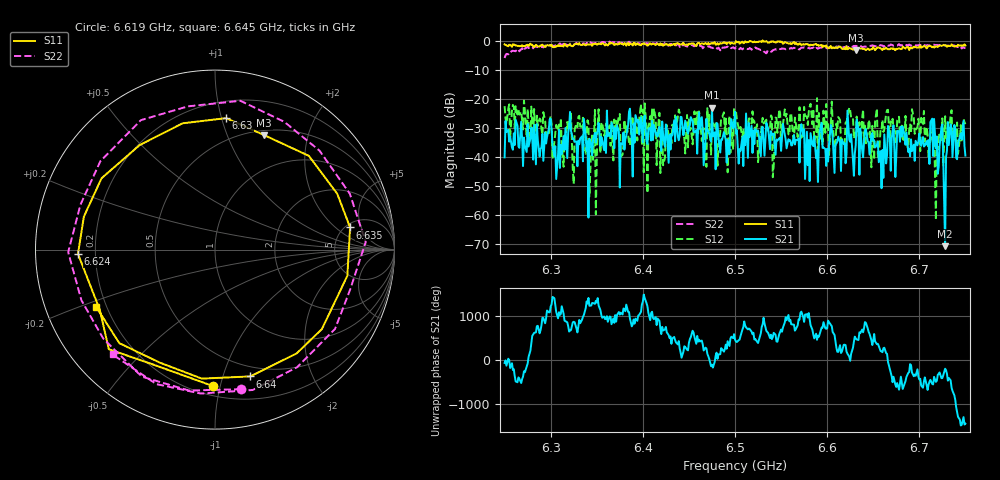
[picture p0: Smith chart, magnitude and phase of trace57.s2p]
# Hz S RI R 50
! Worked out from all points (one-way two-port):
!   401 points, 6.25 GHz to 6.75 GHz, reference 50 ohm
!   highest |S21| = -22.94 dB at 6.475 GHz (marker M1); lowest = -70.7 dB at 6.728 GHz (marker M2)
!   lowest |S11| = -3.2 dB at 6.631 GHz (marker M3), VSWR 5.54, Z = 27.8 + j68.3 ohm
!   |S11| at or under -10 dB: nowhere
!   |S22| runs from -5.8 to -0.1 dB; largest |S21 - S12| = 0.12
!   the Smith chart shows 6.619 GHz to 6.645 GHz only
!   S11 on the Smith chart (normalised r, x): 6.619 GHz: 0.26, -0.95; 6.624 GHz: 0.13, -0.02; 6.63 GHz: 0.32, +1.03; 6.635 GHz: 5.47, +3.23; 6.64 GHz: 0.40, -1.23; 6.645 GHz: 0.16, -0.22
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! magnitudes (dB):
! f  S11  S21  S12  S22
! 6.25 GHz  -1.1  -40.1  -22.4  -5.8
! 6.334 GHz  -1.3  -32.8  -29.5  -0.8
! 6.348 GHz  -0.9  -31.6  -23.7  -0.7
! 6.372 GHz  -1.2  -29.1  -29.8  -0.6
! 6.418 GHz  -1.4  -29.5  -24.7  -1.0
! 6.475 GHz  -0.6  -22.9  -29.2  -2.2
! 6.5 GHz  -0.8  -24.3  -26.9  -2.6
! 6.506 GHz  -0.6  -37.8  -29.6  -2.3
! 6.584 GHz  -1.3  -35.7  -28.7  -2.3
! 6.619 GHz  -2.4  -35.2  -35.2  -2.0
! 6.624 GHz  -2.3  -34.0  -22.9  -2.0
! 6.63 GHz  -2.7  -38.8  -31.7  -1.8
! 6.631 GHz  -3.2  -35.9  -31.5  -1.5
! 6.635 GHz  -2.4  -46.1  -28.0  -1.8
! 6.64 GHz  -2.7  -34.9  -34.9  -1.9
! 6.645 GHz  -2.7  -34.9  -27.1  -1.8
! 6.659 GHz  -2.8  -50.7  -30.5  -1.5
! 6.668 GHz  -2.8  -33.5  -34.9  -1.4
! 6.715 GHz  -1.9  -39.6  -29.4  -1.3
! 6.728 GHz  -1.4  -70.7  -25.9  -1.5
! 6.732 GHz  -1.7  -35.8  -33.2  -1.5
! 6.75 GHz  -1.5  -39.4  -28.6  -2.3
